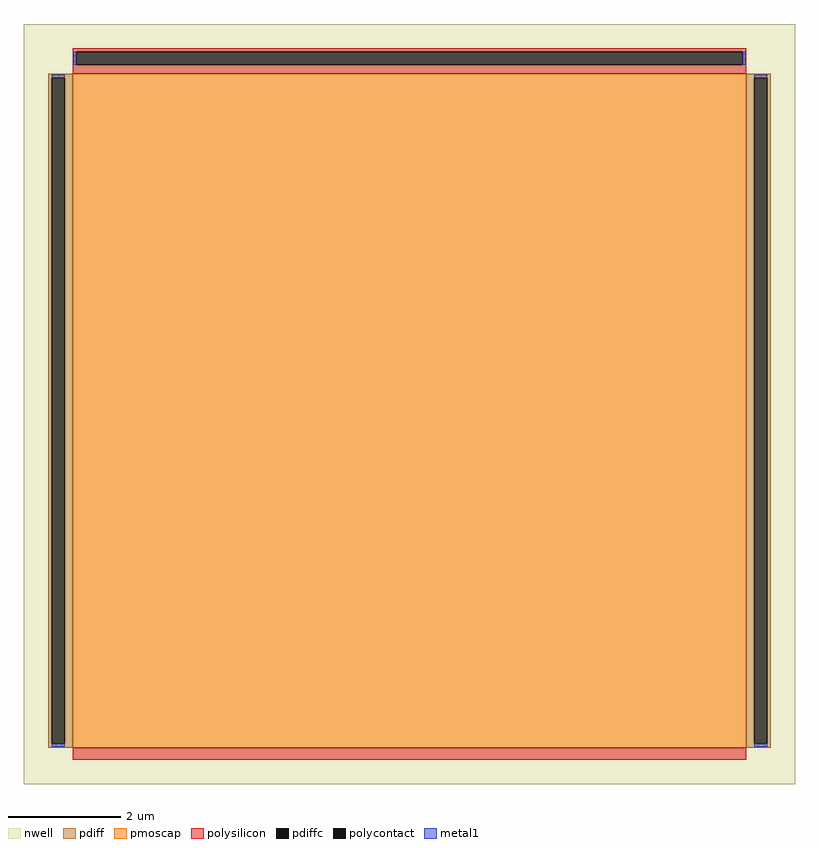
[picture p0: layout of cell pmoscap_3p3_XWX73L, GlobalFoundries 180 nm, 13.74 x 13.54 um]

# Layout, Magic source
magic
tech gf180mcuD
magscale 1 10
<< nwell >>
rect -1374 -1354 1374 1354
<< pdiff >>
rect -1288 1163 -1200 1176
rect -1288 -1211 -1275 1163
rect -1229 -1211 -1200 1163
rect -1288 -1224 -1200 -1211
rect 1200 1163 1288 1176
rect 1200 -1211 1229 1163
rect 1275 -1211 1288 1163
rect 1200 -1224 1288 -1211
<< pdiffc >>
rect -1275 -1211 -1229 1163
rect 1229 -1211 1275 1163
<< pmoscap >>
rect -1200 -1224 1200 1176
<< polysilicon >>
rect -1200 1255 1200 1268
rect -1200 1209 -1187 1255
rect 1187 1209 1200 1255
rect -1200 1176 1200 1209
rect -1200 -1268 1200 -1224
<< polycontact >>
rect -1187 1209 1187 1255
<< metal1 >>
rect -1198 1209 -1187 1255
rect 1187 1209 1198 1255
rect -1275 1163 -1229 1174
rect -1275 -1222 -1229 -1211
rect 1229 1163 1275 1174
rect 1229 -1222 1275 -1211
<< properties >>
string gencell pmoscap_3p3
string library gf180mcu
string parameters w 12 l 12 m 1 nf 1 diffcov 100 polycov 100 guard 0 glc 0 grc 0 gtc 0 gbc 0 tbcov 100 rlcov 100 topc 1 botc 0 poverlap 0 doverlap 1 lmin 0.28 wmin 0.22 class mosfet full_metal 0 compatible {pmoscap_3p3 pmoscap_6p0}
<< end >>
